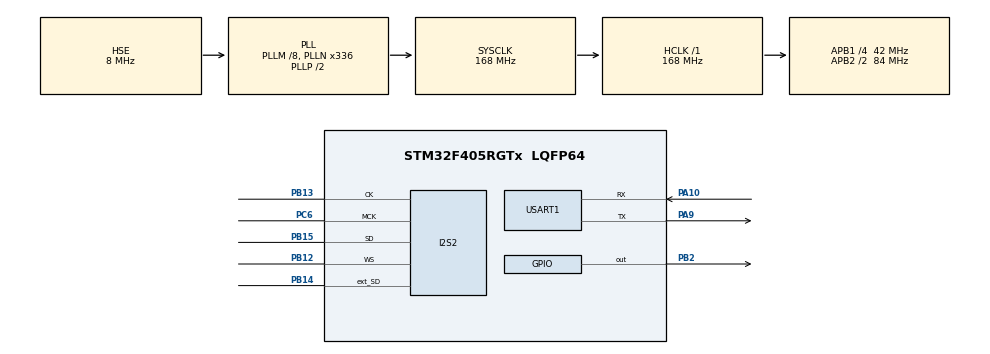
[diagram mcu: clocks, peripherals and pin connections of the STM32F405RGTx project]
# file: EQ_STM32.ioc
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Dma.I2S2_EXT_RX.0.Direction=DMA_PERIPH_TO_MEMORY
Dma.I2S2_EXT_RX.0.FIFOMode=DMA_FIFOMODE_DISABLE
Dma.I2S2_EXT_RX.0.Instance=DMA1_Stream3
Dma.I2S2_EXT_RX.0.MemDataAlignment=DMA_MDATAALIGN_HALFWORD
Dma.I2S2_EXT_RX.0.MemInc=DMA_MINC_ENABLE
Dma.I2S2_EXT_RX.0.Mode=DMA_CIRCULAR
Dma.I2S2_EXT_RX.0.PeriphDataAlignment=DMA_PDATAALIGN_HALFWORD
Dma.I2S2_EXT_RX.0.PeriphInc=DMA_PINC_DISABLE
Dma.I2S2_EXT_RX.0.Priority=DMA_PRIORITY_HIGH
Dma.Request0=I2S2_EXT_RX
Dma.Request1=SPI2_TX
Dma.SPI2_TX.1.Direction=DMA_MEMORY_TO_PERIPH
Dma.SPI2_TX.1.FIFOMode=DMA_FIFOMODE_DISABLE
Dma.SPI2_TX.1.Instance=DMA1_Stream4
Dma.SPI2_TX.1.MemDataAlignment=DMA_MDATAALIGN_HALFWORD
Dma.SPI2_TX.1.MemInc=DMA_MINC_ENABLE
Dma.SPI2_TX.1.Mode=DMA_CIRCULAR
Dma.SPI2_TX.1.PeriphDataAlignment=DMA_PDATAALIGN_HALFWORD
Dma.SPI2_TX.1.PeriphInc=DMA_PINC_DISABLE
Dma.SPI2_TX.1.Priority=DMA_PRIORITY_HIGH
I2S2.AudioFreq=I2S_AUDIOFREQ_96K
I2S2.DataFormat=I2S_DATAFORMAT_24B
I2S2.ErrorAudioFreq=-2.34 %
I2S2.FullDuplexMode=I2S_FULLDUPLEXMODE_ENABLE
I2S2.Instance=SPI$Index
I2S2.RealAudioFreq=93.75 KHz
I2S2.VirtualMode=I2S_MODE_MASTER
Mcu.Family=STM32F4
Mcu.Name=STM32F405RGTx
Mcu.Package=LQFP64
NVIC.DMA1_Stream3_IRQn=true\:0\:0\:false\:false\:true\:false\:true\:true
NVIC.DMA1_Stream4_IRQn=true\:0\:0\:false\:false\:true\:false\:true\:true
NVIC.PriorityGroup=NVIC_PRIORITYGROUP_4
NVIC.USART1_IRQn=true\:0\:0\:false\:false\:true\:true\:true\:true
PA10.Mode=Asynchronous
PA10.Signal=USART1_RX
PA13.Mode=Serial_Wire
PA13.Signal=SYS_JTMS-SWDIO
PA14.Mode=Serial_Wire
PA14.Signal=SYS_JTCK-SWCLK
PA9.Mode=Asynchronous
PA9.Signal=USART1_TX
PB12.Mode=Full_Duplex_Master
PB12.Signal=I2S2_WS
PB13.Mode=Full_Duplex_Master
PB13.Signal=I2S2_CK
PB14.Mode=Full_Duplex_Master
PB14.Signal=I2S2_ext_SD
PB15.Mode=Full_Duplex_Master
PB15.Signal=I2S2_SD
PB2.Signal=GPIO_Output
PC6.Mode=Master_Clock_Activated
PC6.Signal=I2S2_MCK
PH0-OSC_IN.Mode=HSE-External-Oscillator
PH0-OSC_IN.Signal=RCC_OSC_IN
PH1-OSC_OUT.Mode=HSE-External-Oscillator
PH1-OSC_OUT.Signal=RCC_OSC_OUT
ProjectManager.HeapSize=0x200
ProjectManager.StackSize=0x400
ProjectManager.TargetToolchain=STM32CubeIDE
RCC.48MHZClocksFreq_Value=84000000
RCC.AHBFreq_Value=168000000
RCC.APB1CLKDivider=RCC_HCLK_DIV4
RCC.APB1Freq_Value=42000000
RCC.APB1TimFreq_Value=84000000
RCC.APB2CLKDivider=RCC_HCLK_DIV2
RCC.APB2Freq_Value=84000000
RCC.APB2TimFreq_Value=168000000
RCC.CortexFreq_Value=168000000
RCC.HCLKFreq_Value=168000000
RCC.HSE_VALUE=8000000
RCC.HSI_VALUE=16000000
RCC.LSE_VALUE=32768
RCC.PLLM=8
RCC.PLLN=336
RCC.PLLSourceVirtual=RCC_PLLSOURCE_HSE
RCC.SYSCLKFreq_VALUE=168000000
RCC.SYSCLKSource=RCC_SYSCLKSOURCE_PLLCLK
RCC.VCOOutputFreq_Value=336000000
USART1.VirtualMode=VM_ASYNC
board=custom

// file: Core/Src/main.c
/* USER CODE BEGIN Header */
/**
  ******************************************************************************
  * @file           : main.c
  * @brief          : Main program body
  ******************************************************************************
  * @attention
  *
  * Copyright (c) 2024 STMicroelectronics.
  * All rights reserved.
  *
  * This software is licensed under terms that can be found in the LICENSE file
  * in the root directory of this software component.
  * If no LICENSE file comes with this software, it is provided AS-IS.
  *
  ******************************************************************************
  */
/* USER CODE END Header */
#include "main.h"

/* USER CODE BEGIN Includes */

#include <stdio.h>
#include "arm_math.h"

/* USER CODE END Includes */

/* USER CODE BEGIN PD */

#define BLOCK_SIZE_FLOAT 512
#define BLOCK_SIZE_U16 2048

/* USER CODE END PD */

I2S_HandleTypeDef hi2s2;
DMA_HandleTypeDef hdma_i2s2_ext_rx;
DMA_HandleTypeDef hdma_spi2_tx;

UART_HandleTypeDef huart1;

/* USER CODE BEGIN PV */

// UART
uint8_t tx_buffer[17] = "Serial Ready!\n\r";
uint8_t rx_buffer[65];

// I2S
float iir_l_low_state [4];
float iir_r_low_state [4];
float iir_l_lowmid_state [4];
float iir_r_lowmid_state [4];
float iir_l_mid_state [4];
float iir_r_mid_state [4];
float iir_l_highmid_state [4];
float iir_r_highmid_state [4];
float iir_l_high_state [4];
float iir_r_high_state [4];
uint16_t rxBuf[BLOCK_SIZE_U16*2];
uint16_t txBuf[BLOCK_SIZE_U16*2];
float l_buf_in [BLOCK_SIZE_FLOAT*2];
float r_buf_in [BLOCK_SIZE_FLOAT*2];
float l_buf_out [BLOCK_SIZE_FLOAT*2];
float r_buf_out [BLOCK_SIZE_FLOAT*2];
uint8_t callback_state = 0;
arm_biquad_casd_df1_inst_f32 iirsettings_l_low, iirsettings_r_low;
arm_biquad_casd_df1_inst_f32 iirsettings_l_lowmid, iirsettings_r_lowmid;
arm_biquad_casd_df1_inst_f32 iirsettings_l_mid, iirsettings_r_mid;
arm_biquad_casd_df1_inst_f32 iirsettings_l_highmid, iirsettings_r_highmid;
arm_biquad_casd_df1_inst_f32 iirsettings_l_high, iirsettings_r_high;

//IIR coefficient array
// Default settings: Q = 1.0, Fs = 96kHz, Gain = 0
float iir_coeffs_low [5] = {
				1.000000f,
				-1.996722f,
				0.996733f,
				1.996722f,
				-0.996733
};

float iir_coeffs_lowmid [5] = {
        1.000000f,
        -1.986825f,
        0.986996f,
        1.986825f,
        -0.986996
};

float iir_coeffs_mid [5] = {
        1.000000f,
        -1.897381f,
        0.906562f,
        1.897381f,
        -0.906562
};

float iir_coeffs_highmid [5] = {
        1.000000f,
        -1.787234f,
        0.822248f,
        1.787234f,
        -0.822248
};

float iir_coeffs_high [5] = {
        1.000000f,
        -1.216444f,
        0.533295f,
        1.216444f,
        -0.533295
};

/* USER CODE END PV */

void SystemClock_Config(void);
static void MX_GPIO_Init(void);
static void MX_DMA_Init(void);
static void MX_I2S2_Init(void);
static void MX_USART1_UART_Init(void);
/* USER CODE BEGIN PFP */

static void parseAndStoreCoeffs(char *rx_buffer);

/* USER CODE END PFP */

int main(void)
{

  /* MCU Configuration--------------------------------------------------------*/

  /* Reset of all peripherals, Initializes the Flash interface and the Systick. */
  HAL_Init();

  /* Configure the system clock */
  SystemClock_Config();

  /* Initialize all configured peripherals */
  MX_GPIO_Init();
  MX_DMA_Init();
  MX_I2S2_Init();
  MX_USART1_UART_Init();
  /* USER CODE BEGIN 2 */

  // Start UART communication
  HAL_UART_Transmit(&huart1, tx_buffer, sizeof(tx_buffer), 10); // Send ready message
  HAL_UART_Receive_IT(&huart1, rx_buffer, sizeof(rx_buffer)); // Start UART receive

  // Start I2S communication
  // Initialize IIR filter coefficients
  arm_biquad_cascade_df1_init_f32 ( &iirsettings_l_low, 1, &iir_coeffs_low[0], &iir_l_low_state[0]);
  arm_biquad_cascade_df1_init_f32 ( &iirsettings_r_low, 1, &iir_coeffs_low[0], &iir_r_low_state[0]);
  arm_biquad_cascade_df1_init_f32 ( &iirsettings_l_lowmid, 1, &iir_coeffs_lowmid[0], &iir_l_lowmid_state[0]);
  arm_biquad_cascade_df1_init_f32 ( &iirsettings_r_lowmid, 1, &iir_coeffs_lowmid[0], &iir_r_lowmid_state[0]);
  arm_biquad_cascade_df1_init_f32 ( &iirsettings_l_mid, 1, &iir_coeffs_mid[0], &iir_l_mid_state[0]);
  arm_biquad_cascade_df1_init_f32 ( &iirsettings_r_mid, 1, &iir_coeffs_mid[0], &iir_r_mid_state[0]);
  arm_biquad_cascade_df1_init_f32 ( &iirsettings_l_highmid, 1, &iir_coeffs_highmid[0], &iir_l_highmid_state[0]);
  arm_biquad_cascade_df1_init_f32 ( &iirsettings_r_highmid, 1, &iir_coeffs_highmid[0], &iir_r_highmid_state[0]);
  arm_biquad_cascade_df1_init_f32 ( &iirsettings_l_high, 1, &iir_coeffs_high[0], &iir_l_high_state[0]);
  arm_biquad_cascade_df1_init_f32 ( &iirsettings_r_high, 1, &iir_coeffs_high[0], &iir_r_high_state[0]);

  // Start I2S with 2048 samples transmission -> 4096*u16 words
  HAL_I2SEx_TransmitReceive_DMA (&hi2s2, txBuf, rxBuf, BLOCK_SIZE_U16);

  int offset_r_ptr;
  int offset_w_ptr, w_ptr;

  /* USER CODE END 2 */

  /* Infinite loop */
  while (1)
  {

    /* USER CODE BEGIN 3 */

    if (callback_state != 0) {

		  // Decide if it was half or full cplt callback
		  if (callback_state == 1)   {
			  	  offset_r_ptr = 0;
			  	  offset_w_ptr = 0;
			  	  w_ptr = 0;
			  }

		  else if (callback_state == 2) {
			  offset_r_ptr = BLOCK_SIZE_U16;
			  offset_w_ptr = BLOCK_SIZE_FLOAT;
			  w_ptr = BLOCK_SIZE_FLOAT;
		  }

		  // Restore input sample buffer to float array
		  for (int i=offset_r_ptr; i<offset_r_ptr+BLOCK_SIZE_U16; i=i+4) {
			  l_buf_in[w_ptr] = (float) ((int) (rxBuf[i]<<16)|rxBuf[i+1]);
			  r_buf_in[w_ptr] = (float) ((int) (rxBuf[i+2]<<16)|rxBuf[i+3]);
			  w_ptr++;
		  }

		  // Process IIR
		  arm_biquad_cascade_df1_f32 (&iirsettings_l_low, &l_buf_in[offset_w_ptr], &l_buf_out[offset_w_ptr],BLOCK_SIZE_FLOAT);
		  arm_biquad_cascade_df1_f32 (&iirsettings_r_low, &r_buf_in[offset_w_ptr], &r_buf_out[offset_w_ptr],BLOCK_SIZE_FLOAT);
      arm_biquad_cascade_df1_f32 (&iirsettings_l_lowmid, &l_buf_out[offset_w_ptr], &l_buf_out[offset_w_ptr],BLOCK_SIZE_FLOAT);
      arm_biquad_cascade_df1_f32 (&iirsettings_r_lowmid, &r_buf_out[offset_w_ptr], &r_buf_out[offset_w_ptr],BLOCK_SIZE_FLOAT);
      arm_biquad_cascade_df1_f32 (&iirsettings_l_mid, &l_buf_out[offset_w_ptr], &l_buf_out[offset_w_ptr],BLOCK_SIZE_FLOAT);
      arm_biquad_cascade_df1_f32 (&iirsettings_r_mid, &r_buf_out[offset_w_ptr], &r_buf_out[offset_w_ptr],BLOCK_SIZE_FLOAT);
      arm_biquad_cascade_df1_f32 (&iirsettings_l_highmid, &l_buf_out[offset_w_ptr], &l_buf_out[offset_w_ptr],BLOCK_SIZE_FLOAT);
      arm_biquad_cascade_df1_f32 (&iirsettings_r_highmid, &r_buf_out[offset_w_ptr], &r_buf_out[offset_w_ptr],BLOCK_SIZE_FLOAT);
      arm_biquad_cascade_df1_f32 (&iirsettings_l_high, &l_buf_out[offset_w_ptr], &l_buf_out[offset_w_ptr],BLOCK_SIZE_FLOAT);
      arm_biquad_cascade_df1_f32 (&iirsettings_r_high, &r_buf_out[offset_w_ptr], &r_buf_out[offset_w_ptr],BLOCK_SIZE_FLOAT);

      // Bypass the filter
      // for (int i=offset_w_ptr; i<offset_w_ptr+BLOCK_SIZE_FLOAT; i++) {
      //   l_buf_out[i] = l_buf_in[i];
      //   r_buf_out[i] = r_buf_in[i];
      // }

		  //restore processed float-array to output sample-buffer
		  w_ptr = offset_w_ptr;

		  for (int i=offset_r_ptr; i<offset_r_ptr+BLOCK_SIZE_U16; i=i+4) {
				txBuf[i] =  (((int)l_buf_out[w_ptr])>>16)&0xFFFF;
				txBuf[i+1] = ((int)l_buf_out[w_ptr])&0xFFFF;
				txBuf[i+2] = (((int)r_buf_out[w_ptr])>>16)&0xFFFF;
				txBuf[i+3] = ((int)r_buf_out[w_ptr])&0xFFFF;
				w_ptr++;
		  }

		  callback_state = 0;

	  }
  }
  /* USER CODE END 3 */
}

void SystemClock_Config(void)
{
  RCC_OscInitTypeDef RCC_OscInitStruct = {0};
  RCC_ClkInitTypeDef RCC_ClkInitStruct = {0};

  /** Configure the main internal regulator output voltage
  */
  __HAL_RCC_PWR_CLK_ENABLE();
  __HAL_PWR_VOLTAGESCALING_CONFIG(PWR_REGULATOR_VOLTAGE_SCALE1);

  /** Initializes the RCC Oscillators according to the specified parameters
  * in the RCC_OscInitTypeDef structure.
  */
  RCC_OscInitStruct.OscillatorType = RCC_OSCILLATORTYPE_HSE;
  RCC_OscInitStruct.HSEState = RCC_HSE_ON;
  RCC_OscInitStruct.PLL.PLLState = RCC_PLL_ON;
  RCC_OscInitStruct.PLL.PLLSource = RCC_PLLSOURCE_HSE;
  RCC_OscInitStruct.PLL.PLLM = 8;
  RCC_OscInitStruct.PLL.PLLN = 336;
  RCC_OscInitStruct.PLL.PLLP = RCC_PLLP_DIV2;
  RCC_OscInitStruct.PLL.PLLQ = 4;
  if (HAL_RCC_OscConfig(&RCC_OscInitStruct) != HAL_OK)
  {
    Error_Handler();
  }

  /** Initializes the CPU, AHB and APB buses clocks
  */
  RCC_ClkInitStruct.ClockType = RCC_CLOCKTYPE_HCLK|RCC_CLOCKTYPE_SYSCLK
                              |RCC_CLOCKTYPE_PCLK1|RCC_CLOCKTYPE_PCLK2;
  RCC_ClkInitStruct.SYSCLKSource = RCC_SYSCLKSOURCE_PLLCLK;
  RCC_ClkInitStruct.AHBCLKDivider = RCC_SYSCLK_DIV1;
  RCC_ClkInitStruct.APB1CLKDivider = RCC_HCLK_DIV4;
  RCC_ClkInitStruct.APB2CLKDivider = RCC_HCLK_DIV2;

  if (HAL_RCC_ClockConfig(&RCC_ClkInitStruct, FLASH_LATENCY_5) != HAL_OK)
  {
    Error_Handler();
  }
}

static void MX_I2S2_Init(void)
{

  hi2s2.Instance = SPI2;
  hi2s2.Init.Mode = I2S_MODE_MASTER_TX;
  hi2s2.Init.Standard = I2S_STANDARD_PHILIPS;
  hi2s2.Init.DataFormat = I2S_DATAFORMAT_24B;
  hi2s2.Init.MCLKOutput = I2S_MCLKOUTPUT_ENABLE;
  hi2s2.Init.AudioFreq = I2S_AUDIOFREQ_96K;
  hi2s2.Init.CPOL = I2S_CPOL_LOW;
  hi2s2.Init.ClockSource = I2S_CLOCK_PLL;
  hi2s2.Init.FullDuplexMode = I2S_FULLDUPLEXMODE_ENABLE;
  if (HAL_I2S_Init(&hi2s2) != HAL_OK)
  {
    Error_Handler();
  }

}

static void MX_USART1_UART_Init(void)
{

  huart1.Instance = USART1;
  huart1.Init.BaudRate = 115200;
  huart1.Init.WordLength = UART_WORDLENGTH_8B;
  huart1.Init.StopBits = UART_STOPBITS_1;
  huart1.Init.Parity = UART_PARITY_NONE;
  huart1.Init.Mode = UART_MODE_TX_RX;
  huart1.Init.HwFlowCtl = UART_HWCONTROL_NONE;
  huart1.Init.OverSampling = UART_OVERSAMPLING_16;
  if (HAL_UART_Init(&huart1) != HAL_OK)
  {
    Error_Handler();
  }

}

static void MX_DMA_Init(void)
{

  /* DMA controller clock enable */
  __HAL_RCC_DMA1_CLK_ENABLE();

  /* DMA interrupt init */
  /* DMA1_Stream3_IRQn interrupt configuration */
  HAL_NVIC_SetPriority(DMA1_Stream3_IRQn, 0, 0);
  HAL_NVIC_EnableIRQ(DMA1_Stream3_IRQn);
  /* DMA1_Stream4_IRQn interrupt configuration */
  HAL_NVIC_SetPriority(DMA1_Stream4_IRQn, 0, 0);
  HAL_NVIC_EnableIRQ(DMA1_Stream4_IRQn);

}

static void MX_GPIO_Init(void)
{
  GPIO_InitTypeDef GPIO_InitStruct = {0};

  /* GPIO Ports Clock Enable */
  __HAL_RCC_GPIOH_CLK_ENABLE();
  __HAL_RCC_GPIOB_CLK_ENABLE();
  __HAL_RCC_GPIOC_CLK_ENABLE();
  __HAL_RCC_GPIOA_CLK_ENABLE();

  /*Configure GPIO pin Output Level */
  HAL_GPIO_WritePin(GPIOB, GPIO_PIN_2, GPIO_PIN_RESET);

  /*Configure GPIO pin : PB2 */
  GPIO_InitStruct.Pin = GPIO_PIN_2;
  GPIO_InitStruct.Mode = GPIO_MODE_OUTPUT_PP;
  GPIO_InitStruct.Pull = GPIO_NOPULL;
  GPIO_InitStruct.Speed = GPIO_SPEED_FREQ_LOW;
  HAL_GPIO_Init(GPIOB, &GPIO_InitStruct);

}

/* USER CODE BEGIN 4 */

// printf function
int _write(int file, char *ptr, int len)
{
  (void)file;
  int DataIdx;

  for (DataIdx = 0; DataIdx < len; DataIdx++)
  {
	  ITM_SendChar(*ptr++);
  }
  return len;
}

void HAL_UART_RxCpltCallback(UART_HandleTypeDef *huart)
{
  /* Prevent unused argument(s) compilation warning */
  UNUSED(huart);
  /* NOTE: This function should not be modified, when the callback is needed,
           the HAL_UART_RxCpltCallback could be implemented in the user file
   */
  // HAL_UART_Transmit(&huart1, rx_buffer, sizeof(rx_buffer), 10); // Echo the received data to serial
  printf("Received UART: %s\n", rx_buffer); // Print the received data to serial
  parseAndStoreCoeffs((char *)rx_buffer); // Parse the received data
  memset(rx_buffer, 0, sizeof(rx_buffer)); // Clear the buffer
  HAL_UART_Receive_IT(&huart1, rx_buffer, sizeof(rx_buffer)); // Start the next receive
}

static void parseAndStoreCoeffs(char *rx_buffer) {
    // Determine which band the coefficients are for
    if (strncmp(rx_buffer, "LowMid", 6) == 0) {
        sscanf(rx_buffer, "LowMid %f %f %f %f %f",
                &iir_coeffs_lowmid[0], &iir_coeffs_lowmid[1], &iir_coeffs_lowmid[2], &iir_coeffs_lowmid[3], &iir_coeffs_lowmid[4]);
        printf("Parsed LowMid : %f %f %f %f %f\n", iir_coeffs_lowmid[0], iir_coeffs_lowmid[1], iir_coeffs_lowmid[2], iir_coeffs_lowmid[3], iir_coeffs_lowmid[4]);
    } else if (strncmp(rx_buffer, "HighMid", 7) == 0) {
        sscanf(rx_buffer, "HighMid %f %f %f %f %f",
                &iir_coeffs_highmid[0], &iir_coeffs_highmid[1], &iir_coeffs_highmid[2], &iir_coeffs_highmid[3], &iir_coeffs_highmid[4]);
        printf("Parsed HighMid : %f %f %f %f %f\n", iir_coeffs_highmid[0], iir_coeffs_highmid[1], iir_coeffs_highmid[2], iir_coeffs_highmid[3], iir_coeffs_highmid[4]);
    } else if (strncmp(rx_buffer, "Mid", 3) == 0) {
        sscanf(rx_buffer, "Mid %f %f %f %f %f",
                &iir_coeffs_mid[0], &iir_coeffs_mid[1], &iir_coeffs_mid[2], &iir_coeffs_mid[3], &iir_coeffs_mid[4]);
        printf("Parsed Mid : %f %f %f %f %f\n", iir_coeffs_mid[0], iir_coeffs_mid[1], iir_coeffs_mid[2], iir_coeffs_mid[3], iir_coeffs_mid[4]);
    } else if (strncmp(rx_buffer, "Low", 3) == 0) {
        sscanf(rx_buffer, "Low %f %f %f %f %f",
                &iir_coeffs_low[0], &iir_coeffs_low[1], &iir_coeffs_low[2], &iir_coeffs_low[3], &iir_coeffs_low[4]);
        printf("Parsed Low : %f %f %f %f %f\n", iir_coeffs_low[0], iir_coeffs_low[1], iir_coeffs_low[2], iir_coeffs_low[3], iir_coeffs_low[4]);
    } else if (strncmp(rx_buffer, "High", 4) == 0) {
        sscanf(rx_buffer, "High %f %f %f %f %f",
                &iir_coeffs_high[0], &iir_coeffs_high[1], &iir_coeffs_high[2], &iir_coeffs_high[3], &iir_coeffs_high[4]);
        printf("Parsed High : %f %f %f %f %f\n", iir_coeffs_high[0], iir_coeffs_high[1], iir_coeffs_high[2], iir_coeffs_high[3], iir_coeffs_high[4]);
    } else if (strncmp(rx_buffer, "Reset", 5) == 0) {
        iir_coeffs_low[0] = 1.000000f;
        iir_coeffs_low[1] = -1.996722f;
        iir_coeffs_low[2] = 0.996733f;
        iir_coeffs_low[3] = 1.996722f;
        iir_coeffs_low[4] = -0.996733;

        iir_coeffs_lowmid[0] = 1.000000f;
        iir_coeffs_lowmid[1] = -1.986825f;
        iir_coeffs_lowmid[2] = 0.986996f;
        iir_coeffs_lowmid[3] = 1.98683f;
        iir_coeffs_lowmid[4] = -0.986996;

        iir_coeffs_mid[0] = 1.000000f;
        iir_coeffs_mid[1] = -1.897381f;
        iir_coeffs_mid[2] = 0.906562f;
        iir_coeffs_mid[3] = 1.897381f;
        iir_coeffs_mid[4] = -0.906562;

        iir_coeffs_highmid[0] = 0.999999f;
        iir_coeffs_highmid[1] = -1.787234f;
        iir_coeffs_highmid[2] = 0.822248f;
        iir_coeffs_highmid[3] = 1.787234f;
        iir_coeffs_highmid[4] = -0.822248;

        iir_coeffs_high[0] = 0.999999f;
        iir_coeffs_high[1] = -1.216444f;
        iir_coeffs_high[2] = 0.533295f;
        iir_coeffs_high[3] = 1.216444f;
        iir_coeffs_high[4] = -0.533295;

        printf("Coefficients reset!\n");
    } else {
        printf("Invalid command\n");
    }
    // Apply the new coefficients
    arm_biquad_cascade_df1_init_f32 ( &iirsettings_l_low, 1, &iir_coeffs_low[0], &iir_l_low_state[0]);
    arm_biquad_cascade_df1_init_f32 ( &iirsettings_r_low, 1, &iir_coeffs_low[0], &iir_r_low_state[0]);
    arm_biquad_cascade_df1_init_f32 ( &iirsettings_l_lowmid, 1, &iir_coeffs_lowmid[0], &iir_l_lowmid_state[0]);
    arm_biquad_cascade_df1_init_f32 ( &iirsettings_r_lowmid, 1, &iir_coeffs_lowmid[0], &iir_r_lowmid_state[0]);
    arm_biquad_cascade_df1_init_f32 ( &iirsettings_l_mid, 1, &iir_coeffs_mid[0], &iir_l_mid_state[0]);
    arm_biquad_cascade_df1_init_f32 ( &iirsettings_r_mid, 1, &iir_coeffs_mid[0], &iir_r_mid_state[0]);
    arm_biquad_cascade_df1_init_f32 ( &iirsettings_l_highmid, 1, &iir_coeffs_highmid[0], &iir_l_highmid_state[0]);
    arm_biquad_cascade_df1_init_f32 ( &iirsettings_r_highmid, 1, &iir_coeffs_highmid[0], &iir_r_highmid_state[0]);
    arm_biquad_cascade_df1_init_f32 ( &iirsettings_l_high, 1, &iir_coeffs_high[0], &iir_l_high_state[0]);
    arm_biquad_cascade_df1_init_f32 ( &iirsettings_r_high, 1, &iir_coeffs_high[0], &iir_r_high_state[0]);
}

void HAL_I2SEx_TxRxHalfCpltCallback(I2S_HandleTypeDef *hi2s){
  callback_state = 1;
}

void HAL_I2SEx_TxRxCpltCallback(I2S_HandleTypeDef *hi2s){
  callback_state = 2;
}

/* USER CODE END 4 */

void Error_Handler(void)
{
  __disable_irq();
  while (1)
  {
  }
}
